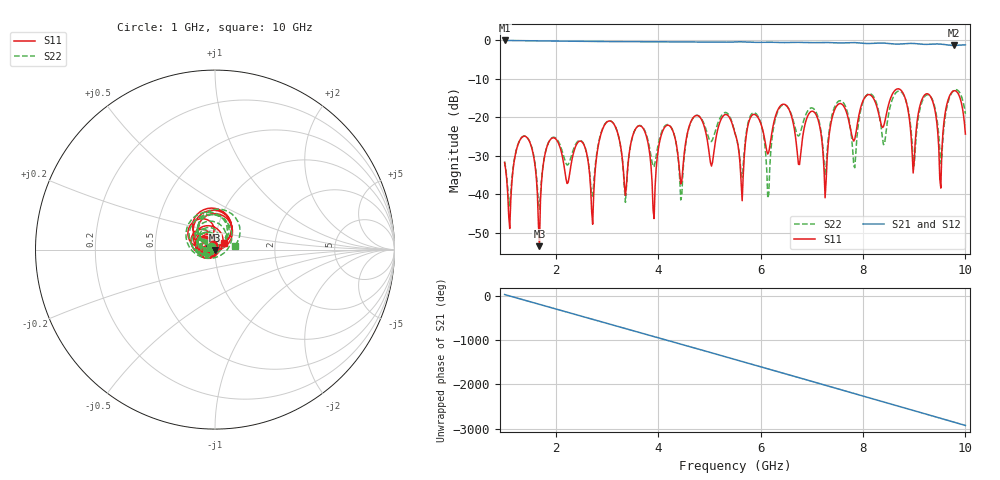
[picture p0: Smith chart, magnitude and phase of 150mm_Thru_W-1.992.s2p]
! Touchstone file exported from HFSS 2018.2.0
!  File:  C:/Users/10024/OneDrive - The University of Nottingham Ningbo China/Year 4/Final Year Project/HFSS project/Patch-1.aedt
!  Generated:  4:48:15 下午  3月 10, 2022
!  Design:  SMA_workbench
!  Project:  Patch-1
!  Setup:  Setup1
!  Solution:  Sweep
! Variables:
!  MW = 1.992mm
!  ThruL = 150mm
!  g = 0.2mm
!  subH = 0.8mm
!  subX = 20mm
!  subY = 160mm
# GHZ S MA R 50.000000
! Modal data exported
! Port[1] = SMA_CONNECTOR1_1:1
! Port[2] = SMA_CONNECTOR2_1:1
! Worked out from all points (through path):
!   451 points, 1 GHz to 10 GHz, reference 50 ohm
!   highest |S21| = -0.13 dB at 1 GHz (marker M1); lowest = -1.4 dB at 9.78 GHz (marker M2)
!   group delay of S21, straight-line fit = 915 ps
!   lowest |S11| = -53.5 dB at 1.68 GHz (marker M3), VSWR 1.00, Z = 49.9 - j0.189 ohm
!   |S11| at or under -10 dB: start of sweep to end of sweep
!   |S22| runs from -43.9 to -12.9 dB; largest |S21 - S12| = 3.3e-14
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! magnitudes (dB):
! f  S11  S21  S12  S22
! 1 GHz  -31.8  -0.1  -0.1  -31.5
! 1.44 GHz  -25.3  -0.2  -0.2  -25.3
! 1.68 GHz  -53.5  -0.2  -0.2  -43.9
! 1.88 GHz  -26.1  -0.3  -0.3  -26.0
! 2.5 GHz  -26.3  -0.3  -0.3  -26.2
! 2.72 GHz  -47.8  -0.4  -0.4  -40.5
! 3 GHz  -21.3  -0.4  -0.4  -21.2
! 3.36 GHz  -40.3  -0.4  -0.4  -42.1
! 4 GHz  -28.5  -0.5  -0.5  -27.1
! 5.5 GHz  -24.3  -0.6  -0.6  -24.2
! 6.14 GHz  -29.6  -0.6  -0.6  -41.0
! 6.38 GHz  -17.2  -0.7  -0.7  -17.5
! 7 GHz  -18.5  -0.7  -0.7  -17.6
! 7.26 GHz  -40.9  -0.7  -0.7  -35.1
! 7.5 GHz  -16.9  -0.8  -0.8  -16.1
! 7.82 GHz  -26.2  -0.7  -0.7  -32.6
! 8.5 GHz  -16.8  -0.9  -0.9  -19.2
! 8.98 GHz  -34.5  -0.9  -0.9  -31.2
! 9.3 GHz  -14.3  -1.1  -1.1  -14.4
! 9.52 GHz  -38.4  -1.1  -1.1  -32.1
! 9.78 GHz  -13.2  -1.4  -1.4  -13.0
! 10 GHz  -24.4  -1.3  -1.3  -19.1
